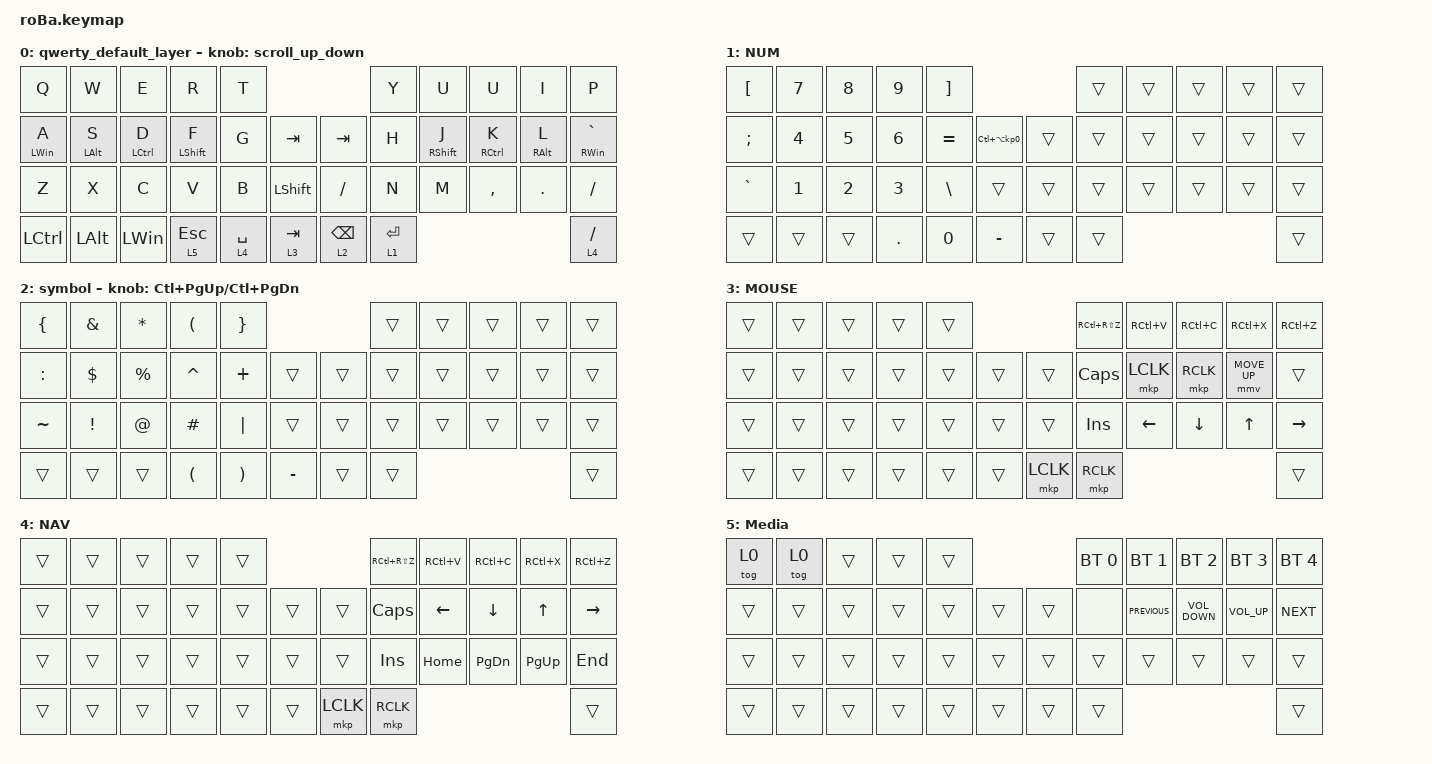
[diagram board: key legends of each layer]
#include <behaviors.dtsi>
#include <dt-bindings/zmk/bt.h>
#include <dt-bindings/zmk/keys.h>
#include <dt-bindings/zmk/pointing.h>

#define ZMK_POINTING_DEFAULT_SCRL_VAL 100

&mt {
    flavor = "balanced";
    quick-tap-ms = <0>;
};

&trackball {
    // automouse-layer = <4>;

    scroll-layers = <5>;

    // arrows {
    //     layers = <3>;
    //     bindings =
    //         <&kp RIGHT_ARROW>,
    //         <&kp LEFT_ARROW>,
    //         <&kp UP_ARROW>,
    //         <&kp DOWN_ARROW>;
    //     tick = <10>;
    //     wait-ms = <5>;
    //     tap-ms = <5>;
    // };
};

/ {
    combos {
        compatible = "zmk,combos";

        muhennkann {
            bindings = <&to_layer_0 INT_MUHENKAN>;
            key-positions = <11 10>;
        };

        double_quotation {
            bindings = <&kp DOUBLE_QUOTES>;
            key-positions = <20 21>;
        };

        eq {
            bindings = <&kp EQUAL>;
            key-positions = <24 25>;
        };
    };

    macros {
        to_layer_0: to_layer_0 {
            compatible = "zmk,behavior-macro-one-param";
            #binding-cells = <1>;
            bindings = <&to 0 &macro_param_1to1 &kp MACRO_PLACEHOLDER>;
            label = "TO_LAYER_0";
        };
    };

    behaviors {
        // 左手用 Positional Hold-Tap（右手側のキーを押したときのみModifier発動）

        hml: left_hand_positional_hold_tap {
            compatible = "zmk,behavior-hold-tap";
            #binding-cells = <2>;
            flavor = "balanced";
            tapping-term-ms = <280>;
            quick-tap-ms = <175>;
            require-prior-idle-ms = <150>;
            bindings = <&kp>, <&kp>;

            // 右手側のキー位置（反対側）

            hold-trigger-key-positions = <5 6 7 8 9 17 18 19 20 21 29 30 31 32 33 40 41 42>;
            hold-trigger-on-release;
        };

        // 右手用 Positional Hold-Tap（左手側のキーを押したときのみModifier発動）

        hmr: right_hand_positional_hold_tap {
            compatible = "zmk,behavior-hold-tap";
            #binding-cells = <2>;
            flavor = "balanced";
            tapping-term-ms = <280>;
            quick-tap-ms = <175>;
            require-prior-idle-ms = <150>;
            bindings = <&kp>, <&kp>;

            // 左手側のキー位置（反対側）

            hold-trigger-key-positions = <0 1 2 3 4 10 11 12 13 14 15 16 22 23 24 25 26 27 28 34 35 36 37 38 39>;
            hold-trigger-on-release;
        };

        lt_to_layer_0: lt_to_layer_0 {
            compatible = "zmk,behavior-hold-tap";
            label = "LAYER_TAP_TO_0";
            bindings = <&mo>, <&to_layer_0>;

            #binding-cells = <2>;
            tapping-term-ms = <200>;
        };

        scroll_up_down: behavior_sensor_rotate_mouse_wheel_up_down {
            compatible = "zmk,behavior-sensor-rotate";
            #sensor-binding-cells = <0>;
            bindings = <&msc SCRL_UP>, <&msc SCRL_DOWN>;

            tap-ms = <20>;
        };
    };

    keymap {
        compatible = "zmk,keymap";

        qwerty_default_layer {
            bindings = <
&kp Q            &kp W            &kp E                &kp R                 &kp T                                                   &kp Y        &kp U               &kp U                 &kp I             &kp P
&hml LEFT_WIN A  &hml LEFT_ALT S  &hml LEFT_CONTROL D  &hml LEFT_SHIFT F     &kp G        &kp TAB                   &kp TAB          &kp H        &hmr RIGHT_SHIFT J  &hmr RIGHT_CONTROL K  &hmr RIGHT_ALT L  &hmr RIGHT_WIN GRAVE
&kp Z            &kp X            &kp C                &kp V                 &kp B        &kp LEFT_SHIFT            &kp SLASH        &kp N        &kp M               &kp COMMA             &kp PERIOD        &kp SLASH
&kp LCTRL        &kp LEFT_ALT     &kp LEFT_WIN         &lt_to_layer_0 5 ESC  &lt 4 SPACE  &lt_to_layer_0 3 TAB      &lt 2 BACKSPACE  &lt 1 ENTER                                                              &lt 4 SLASH
            >;

            sensor-bindings = <&scroll_up_down>;
        };

        NUM {
            bindings = <
&kp LEFT_BRACKET  &kp NUMBER_7  &kp NUMBER_8  &kp NUMBER_9  &kp RIGHT_BRACKET                                       &trans  &trans  &trans  &trans  &trans
&kp SEMICOLON     &kp NUMBER_4  &kp NUMBER_5  &kp NUMBER_6  &kp EQUAL          &kp LC(LA(KP_NUMBER_0))      &trans  &trans  &trans  &trans  &trans  &trans
&kp GRAVE         &kp NUMBER_1  &kp NUMBER_2  &kp NUMBER_3  &kp BACKSLASH      &trans                       &trans  &trans  &trans  &trans  &trans  &trans
&trans            &trans        &trans        &kp PERIOD    &kp N0             &kp MINUS                    &trans  &trans                          &trans
            >;
        };

        symbol {
            bindings = <
&kp LEFT_BRACE  &kp AMPERSAND    &kp ASTERISK  &kp LEFT_PARENTHESIS  &kp RIGHT_BRACE                               &trans  &trans  &trans  &trans  &trans
&kp COLON       &kp DOLLAR       &kp PERCENT   &kp CARET             &kp PLUS               &trans         &trans  &trans  &trans  &trans  &trans  &trans
&kp TILDE       &kp EXCLAMATION  &kp AT_SIGN   &kp HASH              &kp PIPE               &trans         &trans  &trans  &trans  &trans  &trans  &trans
&trans          &trans           &trans        &kp LEFT_PARENTHESIS  &kp RIGHT_PARENTHESIS  &kp MINUS      &trans  &trans                          &trans
            >;

            sensor-bindings = <&inc_dec_kp LC(PAGE_UP) LC(PAGE_DOWN)>;
        };

        MOUSE {
            bindings = <
&trans  &trans  &trans  &trans  &trans                         &kp RC(RS(Z))  &kp RC(V)  &kp RC(C)  &kp RC(X)     &kp RC(Z)
&trans  &trans  &trans  &trans  &trans  &trans      &trans     &kp CAPS       &mkp LCLK  &mkp RCLK  &mmv MOVE_UP  &trans
&trans  &trans  &trans  &trans  &trans  &trans      &trans     &kp INSERT     &kp LEFT   &kp DOWN   &kp UP_ARROW  &kp RIGHT
&trans  &trans  &trans  &trans  &trans  &trans      &mkp LCLK  &mkp RCLK                                          &trans
            >;
        };

        NAV {
            bindings = <
&trans  &trans  &trans  &trans  &trans                         &kp RC(RS(Z))  &kp RC(V)       &kp RC(C)       &kp RC(X)     &kp RC(Z)
&trans  &trans  &trans  &trans  &trans  &trans      &trans     &kp CAPS       &kp LEFT_ARROW  &kp DOWN_ARROW  &kp UP_ARROW  &kp RIGHT
&trans  &trans  &trans  &trans  &trans  &trans      &trans     &kp INSERT     &kp HOME        &kp PAGE_DOWN   &kp PAGE_UP   &kp END
&trans  &trans  &trans  &trans  &trans  &trans      &mkp LCLK  &mkp RCLK                                                    &trans
            >;
        };

        Media {
            bindings = <
&tog 0  &tog 0  &trans  &trans  &trans                      &bt BT_SEL 0  &bt BT_SEL 1    &bt BT_SEL 2       &bt BT_SEL 3  &bt BT_SEL 4
&trans  &trans  &trans  &trans  &trans  &trans      &trans  &none         &kp C_PREVIOUS  &kp C_VOLUME_DOWN  &kp C_VOL_UP  &kp C_NEXT
&trans  &trans  &trans  &trans  &trans  &trans      &trans  &trans        &trans          &trans             &trans        &trans
&trans  &trans  &trans  &trans  &trans  &trans      &trans  &trans                                                         &trans
            >;
        };
    };
};
